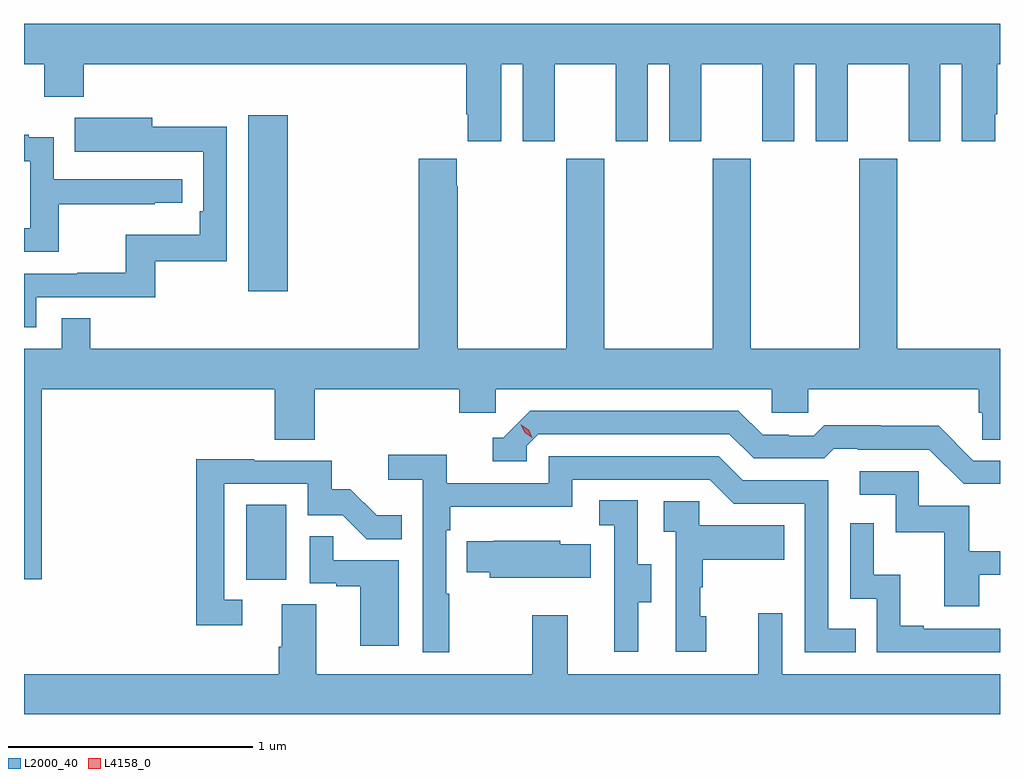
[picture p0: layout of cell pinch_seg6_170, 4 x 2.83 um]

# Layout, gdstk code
import gdstk
lib = gdstk.Library(unit=1e-6, precision=1e-09)
def R(c, l, rs):  # rectangles x0, y0, x1, y1
    for r in rs: c.add(gdstk.rectangle(r[:2], r[2:], *l))
def P(c, l, *ps):  # polygons
    for p in ps: c.add(gdstk.Polygon(p, *l))
L2000_40 = (2000, 40)
L4158_0 = (4158, 0)

pinch_seg6_170 = lib.new_cell('pinch_seg6_170')
R(pinch_seg6_170, L2000_40, [(1069.748,931.902,1069.912,932.209), (1069.757,933.084,1069.918,933.805)])
P(pinch_seg6_170, L2000_40, [(1070.794,934.016),(1070.882,934.016),(1070.882,933.699),(1071.013,933.699),(1071.013,934.016),(1071.263,934.016),(1071.263,933.699),(1071.394,933.699),(1071.394,934.016),(1071.482,934.016),(1071.482,933.699),(1071.613,933.699),(1071.613,934.016),(1071.863,934.016),(1071.863,933.699),(1071.994,933.699),(1071.994,934.016),(1072.082,934.016),(1072.082,933.699),(1072.213,933.699),(1072.213,934.016),(1072.463,934.016),(1072.463,933.699),(1072.594,933.699),(1072.594,934.016),(1072.682,934.016),(1072.682,933.699),(1072.819,933.699),(1072.819,933.811),(1072.826,933.811),(1072.826,934.016),(1072.838,934.016),(1072.838,934.18),(1068.838,934.18),(1068.838,934.016),(1068.922,934.016),(1068.922,933.881),(1069.082,933.881),(1069.082,934.016),(1070.651,934.016),(1070.651,933.811),(1070.657,933.811),(1070.657,933.699),(1070.794,933.699)],
  [(1068.888,933.06),(1069.375,933.06),(1069.375,933.207),(1069.668,933.207),(1069.668,933.758),(1069.363,933.758),(1069.363,933.796),(1069.045,933.796),(1069.045,933.656),(1069.259,933.656),(1069.259,933.657),(1069.572,933.657),(1069.572,933.412),(1069.559,933.412),(1069.559,933.316),(1069.254,933.316),(1069.254,933.161),(1069.057,933.161),(1069.057,933.156),(1068.838,933.156),(1068.838,932.937),(1068.888,932.937)],
  [(1068.98,933.442),(1069.373,933.442),(1069.373,933.447),(1069.486,933.447),(1069.486,933.543),(1068.96,933.543),(1068.96,933.715),(1068.857,933.715),(1068.857,933.727),(1068.838,933.727),(1068.838,933.618),(1068.864,933.618),(1068.864,933.342),(1068.838,933.342),(1068.838,933.246),(1068.98,933.246)],
  [(1069.109,932.975),(1068.993,932.975),(1068.993,932.848),(1068.838,932.848),(1068.838,931.905),(1068.911,931.905),(1068.911,932.684),(1069.865,932.684),(1069.865,932.476),(1070.03,932.476),(1070.03,932.684),(1070.621,932.684),(1070.621,932.586),(1070.772,932.586),(1070.772,932.684),(1071.903,932.684),(1071.903,932.586),(1072.053,932.586),(1072.053,932.684),(1072.751,932.684),(1072.751,932.586),(1072.765,932.586),(1072.765,932.476),(1072.838,932.476),(1072.838,932.848),(1072.416,932.848),(1072.416,933.628),(1072.261,933.628),(1072.261,932.848),(1071.816,932.848),(1071.816,933.628),(1071.661,933.628),(1071.661,932.848),(1071.216,932.848),(1071.216,933.628),(1071.061,933.628),(1071.061,932.848),(1070.616,932.848),(1070.616,933.515),(1070.611,933.515),(1070.611,933.628),(1070.456,933.628),(1070.456,932.848),(1069.109,932.848)],
  [(1072.838,932.391),(1072.728,932.391),(1072.586,932.533),(1072.35,932.533),(1072.35,932.536),(1072.117,932.536),(1072.075,932.493),(1071.972,932.493),(1071.972,932.496),(1071.865,932.496),(1071.766,932.595),(1070.913,932.595),(1070.802,932.484),(1070.759,932.484),(1070.759,932.388),(1070.898,932.388),(1070.898,932.451),(1070.946,932.499),(1071.729,932.499),(1071.828,932.4),(1072.117,932.4),(1072.156,932.439),(1072.255,932.439),(1072.255,932.436),(1072.548,932.436),(1072.689,932.295),(1072.838,932.295)],
  [(1070.581,931.844),(1070.568,931.844),(1070.568,932.105),(1070.585,932.105),(1070.585,932.201),(1071.084,932.201),(1071.084,932.313),(1071.648,932.313),(1071.747,932.214),(1072.038,932.214),(1072.038,931.605),(1072.247,931.605),(1072.247,931.701),(1072.134,931.701),(1072.134,932.31),(1071.784,932.31),(1071.685,932.409),(1070.988,932.409),(1070.988,932.298),(1070.57,932.298),(1070.57,932.414),(1070.331,932.414),(1070.331,932.312),(1070.472,932.312),(1070.472,931.605),(1070.581,931.605)],
  [(1069.732,931.821),(1069.659,931.821),(1069.659,932.295),(1070.001,932.295),(1070.001,932.166),(1070.145,932.166),(1070.243,932.068),(1070.387,932.068),(1070.387,932.167),(1070.283,932.167),(1070.176,932.274),(1070.1,932.274),(1070.1,932.391),(1069.781,932.391),(1069.781,932.396),(1069.543,932.396),(1069.543,931.716),(1069.732,931.716)],
  [(1072.753,931.923),(1072.838,931.923),(1072.838,932.019),(1072.711,932.019),(1072.711,932.205),(1072.506,932.205),(1072.506,932.346),(1072.263,932.346),(1072.263,932.25),(1072.41,932.25),(1072.41,932.097),(1072.609,932.097),(1072.609,931.794),(1072.753,931.794)],
  [(1071.355,931.81),(1071.409,931.81),(1071.409,931.965),(1071.354,931.965),(1071.354,932.228),(1071.195,932.228),(1071.195,932.125),(1071.258,932.125),(1071.258,931.821),(1071.257,931.821),(1071.257,931.608),(1071.355,931.608)],
  [(1071.634,931.752),(1071.609,931.752),(1071.609,931.871),(1071.619,931.871),(1071.619,931.985),(1071.953,931.985),(1071.953,932.125),(1071.606,932.125),(1071.606,932.223),(1071.459,932.223),(1071.459,932.099),(1071.51,932.099),(1071.51,931.608),(1071.634,931.608)],
  [(1072.838,931.701),(1072.525,931.701),(1072.525,931.714),(1072.43,931.714),(1072.43,931.922),(1072.32,931.922),(1072.32,932.134),(1072.224,932.134),(1072.224,931.824),(1072.332,931.824),(1072.332,931.605),(1072.838,931.605)],
  [(1070.374,931.983),(1070.105,931.983),(1070.105,932.081),(1070.01,932.081),(1070.01,931.887),(1070.117,931.887),(1070.117,931.875),(1070.216,931.875),(1070.216,931.632),(1070.374,931.632)],
  [(1071.161,932.047),(1071.036,932.047),(1071.036,932.062),(1070.764,932.062),(1070.764,932.061),(1070.653,932.061),(1070.653,931.933),(1070.747,931.933),(1070.747,931.91),(1071.161,931.91)],
  [(1072.838,931.516),(1071.945,931.516),(1071.945,931.765),(1071.848,931.765),(1071.848,931.516),(1071.067,931.516),(1071.067,931.756),(1070.92,931.756),(1070.92,931.516),(1070.035,931.516),(1070.035,931.802),(1069.895,931.802),(1069.895,931.628),(1069.883,931.628),(1069.883,931.516),(1068.838,931.516),(1068.838,931.352),(1072.838,931.352)])
P(pinch_seg6_170, L4158_0, [(1070.922,932.485),(1070.891,932.504),(1070.874,932.537),(1070.874,932.537),(1070.875,932.537),(1070.906,932.518),(1070.922,932.485),(1070.922,932.485)])

lib.write_gds('pinch_seg6_170.gds')
